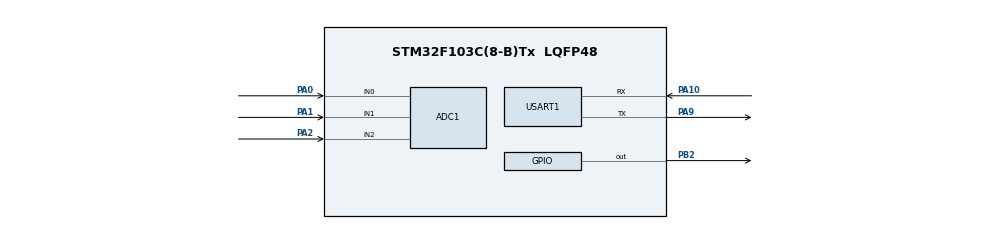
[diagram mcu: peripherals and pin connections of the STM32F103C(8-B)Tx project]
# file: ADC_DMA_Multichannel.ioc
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ADC1.Channel-3\#ChannelRegularConversion=ADC_CHANNEL_0
ADC1.Channel-4\#ChannelRegularConversion=ADC_CHANNEL_1
ADC1.Channel-5\#ChannelRegularConversion=ADC_CHANNEL_2
ADC1.ContinuousConvMode=DISABLE
ADC1.NbrOfConversion=3
ADC1.NbrOfConversionFlag=1
ADC1.Rank-3\#ChannelRegularConversion=1
ADC1.Rank-4\#ChannelRegularConversion=2
ADC1.Rank-5\#ChannelRegularConversion=3
ADC1.SamplingTime-3\#ChannelRegularConversion=ADC_SAMPLETIME_41CYCLES_5
ADC1.SamplingTime-4\#ChannelRegularConversion=ADC_SAMPLETIME_55CYCLES_5
ADC1.SamplingTime-5\#ChannelRegularConversion=ADC_SAMPLETIME_71CYCLES_5
ADC1.master=1
Dma.ADC1.0.Direction=DMA_PERIPH_TO_MEMORY
Dma.ADC1.0.Instance=DMA1_Channel1
Dma.ADC1.0.MemDataAlignment=DMA_MDATAALIGN_HALFWORD
Dma.ADC1.0.MemInc=DMA_MINC_ENABLE
Dma.ADC1.0.Mode=DMA_CIRCULAR
Dma.ADC1.0.PeriphDataAlignment=DMA_PDATAALIGN_HALFWORD
Dma.ADC1.0.PeriphInc=DMA_PINC_DISABLE
Dma.ADC1.0.Priority=DMA_PRIORITY_LOW
Dma.Request0=ADC1
Mcu.Family=STM32F1
Mcu.Name=STM32F103C(8-B)Tx
Mcu.Package=LQFP48
NVIC.DMA1_Channel1_IRQn=true\:0\:0\:false\:false\:true\:false\:true\:true
NVIC.PriorityGroup=NVIC_PRIORITYGROUP_4
PA0-WKUP.Signal=ADCx_IN0
PA1.Signal=ADCx_IN1
PA10.Mode=Asynchronous
PA10.Signal=USART1_RX
PA13.Mode=Serial_Wire
PA13.Signal=SYS_JTMS-SWDIO
PA14.Mode=Serial_Wire
PA14.Signal=SYS_JTCK-SWCLK
PA2.Signal=ADCx_IN2
PA9.Mode=Asynchronous
PA9.Signal=USART1_TX
PB2.Signal=GPIO_Output
PD0-OSC_IN.Mode=HSE-External-Oscillator
PD0-OSC_IN.Signal=RCC_OSC_IN
PD1-OSC_OUT.Mode=HSE-External-Oscillator
PD1-OSC_OUT.Signal=RCC_OSC_OUT
ProjectManager.HeapSize=0x200
ProjectManager.StackSize=0x400
ProjectManager.TargetToolchain=STM32CubeIDE
RCC.APB1Freq_Value=8000000
RCC.APB2Freq_Value=8000000
SH.ADCx_IN0.0=ADC1_IN0,IN0
SH.ADCx_IN1.0=ADC1_IN1,IN1
SH.ADCx_IN2.0=ADC1_IN2,IN2
USART1.VirtualMode=VM_ASYNC
board=custom

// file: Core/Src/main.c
/* USER CODE BEGIN Header */
/**
  ******************************************************************************
  * @file           : main.c
  * @brief          : Main program body
  ******************************************************************************
  * @attention
  *
  * Copyright (c) 2025 STMicroelectronics.
  * All rights reserved.
  *
  * This software is licensed under terms that can be found in the LICENSE file
  * in the root directory of this software component.
  * If no LICENSE file comes with this software, it is provided AS-IS.
  *
  ******************************************************************************
  */
/* USER CODE END Header */
#include "main.h"

/* USER CODE BEGIN Includes */
#include "stdio.h"   // Para sprintf()
#include "string.h"  // Para strlen()
/* USER CODE END Includes */

/* USER CODE BEGIN PD */
#define UART_TIMEOUT       100   // Timeout en ms para transmisión UART
#define BUFFER_SIZE        55    // Tamaño del buffer de transmisión
#define ADC_BUFFER_SIZE    3     // Número de conversiones ADC a almacenar
#define DISPLAY_DELAY      100   // Delay entre transmisiones UART (ms)

#define POT_FILTER_SIZE    8     // Tamaño del buffer para filtro de media móvil
/* USER CODE END PD */

ADC_HandleTypeDef hadc1;
DMA_HandleTypeDef hdma_adc1;

UART_HandleTypeDef huart1;

/* USER CODE BEGIN PV */

/**
 * @brief Buffer para almacenar valores convertidos por el ADC
 * @note  - Tipo uint16_t porque el ADC de 12 bits cabe en 16 bits
 *        - Array de tamaño 3 para tres canales
 *        - El DMA escribe directamente en esta ubicación
 *        - En modo circular, se actualiza continuamente
 *
 * IMPORTANTE: Se usa uint16_t en lugar de uint32_t porque:
 * - El ADC del STM32F103 es de 12 bits (0-4095)
 * - uint16_t optimiza el uso de memoria
 * - La función HAL_ADC_Start_DMA acepta uint32_t* pero el cast es seguro
 */
uint16_t ADC_VAL[ADC_BUFFER_SIZE];

/**
 * @brief Buffer para formatear la cadena a transmitir por UART
 * @note  Almacena el mensaje "ADC1: XXXX ADC2: XXXX ADC3: XXXX\r\n"
 */
char buffer[BUFFER_SIZE];

/**
 * @brief Bandera volátil que indica cuando hay datos ADC listos
 * @note  - volatile: Indica al compilador que esta variable puede cambiar
 *          inesperadamente (desde una ISR), evitando optimizaciones incorrectas
 *        - Se establece en 1 en el callback del DMA
 *        - Se limpia en 0 en el bucle principal después de procesar
 *
 * PATRÓN DE USO:
 * - ISR: adc_ready = 1 (señaliza datos listos)
 * - Main: if(adc_ready) { procesar(); adc_ready = 0; }
 */
volatile uint8_t adc_ready = 0;

/**
 * @brief Buffer circular para implementar filtro de media móvil
 * @note  - Array 2D: [canal][muestra]
 *        - Dimensiones: 3 canales × 8 muestras
 *        - Almacena las últimas POT_FILTER_SIZE lecturas de cada canal
 *        - Útil para suavizar ruido en señales analógicas
 *
 * EJEMPLO DE USO (filtro no implementado en este código base):
 * uint32_t suma = 0;
 * for(int i = 0; i < POT_FILTER_SIZE; i++) {
 *     suma += adc_history[canal][i];
 * }
 * uint32_t promedio = suma / POT_FILTER_SIZE;
 */
uint32_t adc_history[3][POT_FILTER_SIZE];

/**
 * @brief Índice circular para el buffer de historial
 * @note  - Se incrementa después de cada conversión completa
 *        - Se reinicia automáticamente con el operador módulo
 *        - Rango: 0 a (POT_FILTER_SIZE - 1)
 */
uint8_t adc_index = 0;

/* USER CODE END PV */

void SystemClock_Config(void);
static void MX_GPIO_Init(void);
static void MX_DMA_Init(void);
static void MX_USART1_UART_Init(void);
static void MX_ADC1_Init(void);

int main(void)
{

  /* MCU Configuration--------------------------------------------------------*/

  /* Reset of all peripherals, Initializes the Flash interface and the Systick. */
  HAL_Init();

  /* Configure the system clock */
  SystemClock_Config();

  /* Initialize all configured peripherals */
  MX_GPIO_Init();
  MX_DMA_Init();
  MX_USART1_UART_Init();
  MX_ADC1_Init();
  /* USER CODE BEGIN 2 */

  /**
   * ========== CALIBRACIÓN DEL ADC ==========
   *
   * HAL_ADCEx_Calibration_Start():
   * - Ejecuta una calibración automática del ADC
   * - Compensa desviaciones y mejora la precisión
   * - Solo disponible en STM32F1 (no en todas las familias)
   * - Se recomienda ejecutar después de cada power-on o reset
   *
   * PROCESO DE CALIBRACIÓN:
   * 1. Desconecta todas las entradas del ADC
   * 2. Mide el offset interno
   * 3. Ajusta los registros de calibración
   * 4. Tarda aproximadamente 83 ciclos ADC (~7 µs a 12 MHz)
   *
   * IMPORTANTE: Debe llamarse ANTES de iniciar conversiones
   */
  HAL_ADCEx_Calibration_Start(&hadc1);

  /**
   * ========== INICIALIZACIÓN DEL ADC EN MODO DMA ==========
   *
   * HAL_ADC_Start_DMA():
   * - Inicia el ADC en modo DMA con escaneo de múltiples canales
   * - Configura el DMA para transferir datos automáticamente
   * - En este caso, DMA en modo NORMAL (no circular)
   *
   * PARÁMETROS:
   * @param &hadc1: Puntero al manejador del ADC
   * @param (uint32_t *)ADC_VAL: Dirección de memoria destino
   *        - Se hace cast a uint32_t* aunque ADC_VAL es uint16_t[]
   *        - Esto es seguro porque la HAL maneja correctamente el tamaño
   * @param 1: Número de conversiones a transferir antes de generar interrupción
   *
   */
  HAL_ADC_Start_DMA(&hadc1, (uint32_t *)ADC_VAL, ADC_BUFFER_SIZE);

  /* USER CODE END 2 */

  /* Infinite loop */
  /* USER CODE BEGIN WHILE */
  while (1)
  {

	  /**
	   * ========== TRIGGER MANUAL DE CONVERSIÓN ==========
	   *
	   * HAL_ADC_Start():
	   * - Inicia una secuencia completa de conversión de los 3 canales
	   * - Necesario porque ContinuousConvMode está DISABLED
	   * - El escaneo comienza desde el Rank 1 hasta el Rank 3
	   */
	  HAL_ADC_Start(&hadc1);

	  /*
	   * ========== PROCESAMIENTO DE DATOS ADC ==========
	   *
	   * Este bucle espera la bandera adc_ready que es establecida
	   * por el callback del DMA cuando se completa una transferencia.
	   */
	  if(adc_ready == 1)
	  {
		  /* ========== PASO 1: Limpiar la bandera ========== */
		  /**
		    * Limpiamos la bandera inmediatamente para:
			* - Evitar procesar el mismo dato múltiples veces
			* - Sincronizar correctamente el flujo de datos
			*/
		  adc_ready = 0;

		  /* ========== PASO 2: Formatear y transmitir ========== */
		  sprintf(buffer, "ADC1: %u\tADC2: %u\tADC3: %u\n\n\r",
				  	  	  ADC_VAL[0], ADC_VAL[1], ADC_VAL[2]);

		  HAL_UART_Transmit(&huart1, (uint8_t*)buffer, strlen(buffer), HAL_MAX_DELAY);

		  /* ========== PASO 3: Pequeño delay para control de flujo ========== */
		  HAL_Delay(DISPLAY_DELAY);
	  }

    /* USER CODE END WHILE */

  }
}

void SystemClock_Config(void)
{
  RCC_OscInitTypeDef RCC_OscInitStruct = {0};
  RCC_ClkInitTypeDef RCC_ClkInitStruct = {0};
  RCC_PeriphCLKInitTypeDef PeriphClkInit = {0};

  /** Initializes the RCC Oscillators according to the specified parameters
  * in the RCC_OscInitTypeDef structure.
  */
  RCC_OscInitStruct.OscillatorType = RCC_OSCILLATORTYPE_HSI;
  RCC_OscInitStruct.HSIState = RCC_HSI_ON;
  RCC_OscInitStruct.HSICalibrationValue = RCC_HSICALIBRATION_DEFAULT;
  RCC_OscInitStruct.PLL.PLLState = RCC_PLL_NONE;
  if (HAL_RCC_OscConfig(&RCC_OscInitStruct) != HAL_OK)
  {
    Error_Handler();
  }

  /** Initializes the CPU, AHB and APB buses clocks
  */
  RCC_ClkInitStruct.ClockType = RCC_CLOCKTYPE_HCLK|RCC_CLOCKTYPE_SYSCLK
                              |RCC_CLOCKTYPE_PCLK1|RCC_CLOCKTYPE_PCLK2;
  RCC_ClkInitStruct.SYSCLKSource = RCC_SYSCLKSOURCE_HSI;
  RCC_ClkInitStruct.AHBCLKDivider = RCC_SYSCLK_DIV1;
  RCC_ClkInitStruct.APB1CLKDivider = RCC_HCLK_DIV1;
  RCC_ClkInitStruct.APB2CLKDivider = RCC_HCLK_DIV1;

  if (HAL_RCC_ClockConfig(&RCC_ClkInitStruct, FLASH_LATENCY_0) != HAL_OK)
  {
    Error_Handler();
  }
  PeriphClkInit.PeriphClockSelection = RCC_PERIPHCLK_ADC;
  PeriphClkInit.AdcClockSelection = RCC_ADCPCLK2_DIV2;
  if (HAL_RCCEx_PeriphCLKConfig(&PeriphClkInit) != HAL_OK)
  {
    Error_Handler();
  }
}

static void MX_ADC1_Init(void)
{

  ADC_ChannelConfTypeDef sConfig = {0};

  /** Common config
  */
  hadc1.Instance = ADC1;
  hadc1.Init.ScanConvMode = ADC_SCAN_ENABLE;
  hadc1.Init.ContinuousConvMode = DISABLE;
  hadc1.Init.DiscontinuousConvMode = DISABLE;
  hadc1.Init.ExternalTrigConv = ADC_SOFTWARE_START;
  hadc1.Init.DataAlign = ADC_DATAALIGN_RIGHT;
  hadc1.Init.NbrOfConversion = 3;
  if (HAL_ADC_Init(&hadc1) != HAL_OK)
  {
    Error_Handler();
  }

  /** Configure Regular Channel
  */
  sConfig.Channel = ADC_CHANNEL_0;
  sConfig.Rank = ADC_REGULAR_RANK_1;
  sConfig.SamplingTime = ADC_SAMPLETIME_41CYCLES_5;
  if (HAL_ADC_ConfigChannel(&hadc1, &sConfig) != HAL_OK)
  {
    Error_Handler();
  }

  /** Configure Regular Channel
  */
  sConfig.Channel = ADC_CHANNEL_1;
  sConfig.Rank = ADC_REGULAR_RANK_2;
  sConfig.SamplingTime = ADC_SAMPLETIME_55CYCLES_5;
  if (HAL_ADC_ConfigChannel(&hadc1, &sConfig) != HAL_OK)
  {
    Error_Handler();
  }

  /** Configure Regular Channel
  */
  sConfig.Channel = ADC_CHANNEL_2;
  sConfig.Rank = ADC_REGULAR_RANK_3;
  sConfig.SamplingTime = ADC_SAMPLETIME_71CYCLES_5;
  if (HAL_ADC_ConfigChannel(&hadc1, &sConfig) != HAL_OK)
  {
    Error_Handler();
  }

}

static void MX_USART1_UART_Init(void)
{

  huart1.Instance = USART1;
  huart1.Init.BaudRate = 115200;
  huart1.Init.WordLength = UART_WORDLENGTH_8B;
  huart1.Init.StopBits = UART_STOPBITS_1;
  huart1.Init.Parity = UART_PARITY_NONE;
  huart1.Init.Mode = UART_MODE_TX_RX;
  huart1.Init.HwFlowCtl = UART_HWCONTROL_NONE;
  huart1.Init.OverSampling = UART_OVERSAMPLING_16;
  if (HAL_UART_Init(&huart1) != HAL_OK)
  {
    Error_Handler();
  }

}

static void MX_DMA_Init(void)
{

  /* DMA controller clock enable */
  __HAL_RCC_DMA1_CLK_ENABLE();

  /* DMA interrupt init */
  /* DMA1_Channel1_IRQn interrupt configuration */
  HAL_NVIC_SetPriority(DMA1_Channel1_IRQn, 0, 0);
  HAL_NVIC_EnableIRQ(DMA1_Channel1_IRQn);

}

static void MX_GPIO_Init(void)
{
  GPIO_InitTypeDef GPIO_InitStruct = {0};

  /* GPIO Ports Clock Enable */
  __HAL_RCC_GPIOD_CLK_ENABLE();
  __HAL_RCC_GPIOA_CLK_ENABLE();
  __HAL_RCC_GPIOB_CLK_ENABLE();

  /*Configure GPIO pin Output Level */
  HAL_GPIO_WritePin(GPIOB, GPIO_PIN_2, GPIO_PIN_RESET);

  /*Configure GPIO pin : PB2 */
  GPIO_InitStruct.Pin = GPIO_PIN_2;
  GPIO_InitStruct.Mode = GPIO_MODE_OUTPUT_PP;
  GPIO_InitStruct.Pull = GPIO_NOPULL;
  GPIO_InitStruct.Speed = GPIO_SPEED_FREQ_LOW;
  HAL_GPIO_Init(GPIOB, &GPIO_InitStruct);

}

/* USER CODE BEGIN 4 */

/**
  * @brief  Callback ejecutado cuando el DMA completa la conversión de todos los canales.
  * @param  hadc: puntero al manejador del ADC.
  * @retval None
  */
void HAL_ADC_ConvCpltCallback(ADC_HandleTypeDef *hadc)
{
	/**
	 * Verificación de instancia:
	 * - Buena práctica para sistemas con múltiples ADCs
	 * - Evita conflictos si se usan ADC1, ADC2, ADC3 simultáneamente
	 * - En este proyecto simple podría omitirse, pero es buena práctica
	 */
	if(hadc->Instance == ADC1)
	{
		adc_ready = 1;
	}
}

/**
  * @brief  Callback de media conversión (AGREGAR ESTE)
  */
void HAL_ADC_ConvHalfCpltCallback(ADC_HandleTypeDef *hadc)
{
    // Vacío pero necesario para evitar saturación
    // En modo circular con 3 conversiones, esto se llama constantemente
}

/* USER CODE END 4 */

void Error_Handler(void)
{
  __disable_irq();
  while (1)
  {
  }
}
